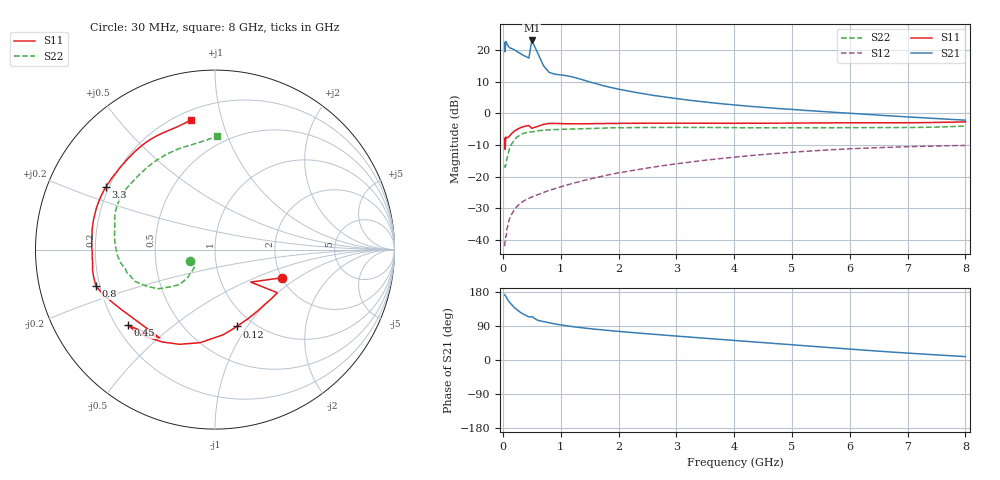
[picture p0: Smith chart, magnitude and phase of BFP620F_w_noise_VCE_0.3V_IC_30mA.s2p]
! Infineon Technologies  Discrete & RF Semiconductors
! BFP620F
! VCE =  0.3 V,  IC =  30 mA
! Common Emitter S-Parameters:  Dec 2014
# GHz  S  MA  R  50
!  f  S11  S21  S12  S22
! GHz  MAG  ANG  MAG  ANG  MAG  ANG  MAG  ANG
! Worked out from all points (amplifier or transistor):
!   95 points, 30 MHz to 8 GHz, reference 50 ohm
!   highest |S21| = 23.1 dB at 500 MHz (marker M1)
!   |S21| within 3 dB of that: 41.83 MHz to 203.2 MHz (161.4 MHz wide, 132 % of centre) (the widest 1 of 3)
!   unconditionally stable (mu >= 1): start of sweep to 248.9 MHz; 737.2 MHz to end of sweep
!   at 300 MHz: K = 0.93, MSG = 23.8 dB, |S12| = -28.5 dB
!   at 3.3 GHz: K = 1.14, MAG = 7.4 dB, |S12| = -15.3 dB
!   at 8 GHz: K = 1.15, MAG = 1.7 dB, |S12| = -10.1 dB
!   lowest NFmin = 1.13 dB at 450 MHz
!   S11 on the Smith chart (normalised r, x): 30 MHz: 2.01, -0.75; 120 MHz: 0.84, -0.90; 450 MHz: 0.25, -0.35; 800 MHz: 0.18, -0.14; 3.3 GHz: 0.19, +0.26; 8 GHz: 0.25, +0.80
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0.03  0.406 -22.7  13.31 172.6  0.0079 42.7  0.1506 -156.1
0.04  0.2694 -42.2  9.463 170.3  0.0098 49.3  0.1403 -143.0
0.05  0.4223 -34.7  13.81 168.1  0.0114 53.6  0.1532 -139.0
0.09  0.4203 -59.9  11.81 157.8  0.0178 57.4  0.2262 -134.3
0.12  0.445 -74.2  10.98 151.5  0.022 54.5  0.2857 -136.3
0.2  0.5249 -99.0  10.18 138.1  0.0302 51.9  0.3842 -145.4
0.25  0.563 -110.4  9.503 132.0  0.0341 50.1  0.4253 -150.9
0.35  0.6141 -127.2  8.351 121.3  0.0406 48.0  0.4813 -158.6
0.45  0.6435 -139.0  7.514 113.6  0.0453 47.3  0.506 -164.7
0.5  0.5803 -122.0  14.32 114.4  0.0474 48.0  0.5101 -167.5
0.6  0.6219 -148.0  9.171 105.0  0.0515 48.6  0.5309 -172.1
0.7  0.6705 -157.7  5.74 101.4  0.0559 49.1  0.5429 -176.0
0.8  0.6934 -163.0  4.471 98.3  0.0603 49.9  0.5493 -179.0
1.1  0.6859 -173.7  3.959 90.3  0.0731 51.8  0.5625 173.3
1.4  0.6871 178.8  3.369 84.5  0.0867 52.8  0.5728 167.4
1.9  0.6944 169.1  2.539 76.9  0.1098 52.6  0.5915 160.3
2.7  0.7009 157.7  1.879 66.8  0.1456 49.2  0.5999 152.9
3.3  0.7006 150.3  1.59 59.7  0.1726 45.6  0.5996 147.6
4.1  0.6983 140.8  1.34 50.4  0.2069 39.8  0.5944 139.6
5.4  0.7071 127.3  1.093 35.6  0.2568 29.0  0.5943 123.9
6.7  0.7118 113.7  0.915 21.2  0.2908 17.4  0.5968 107.3
8  0.7356 100.4  0.782 9.0  0.3114 6.9  0.6315 88.9
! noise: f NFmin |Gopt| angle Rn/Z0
0.45  1.13  0.05  -172  0.18
0.9  1.16  0.05  -171  0.14
1.5  1.18  0.12  -148  0.15
1.8  1.19  0.12  -147  0.16
1.9  1.19  0.12  -146  0.16
2.4  1.21  0.12  -146  0.17
3.5  1.27  0.14  -141  0.18
5.5  1.42  0.21  241  0.13
6  1.47  0.22  260  0.16
